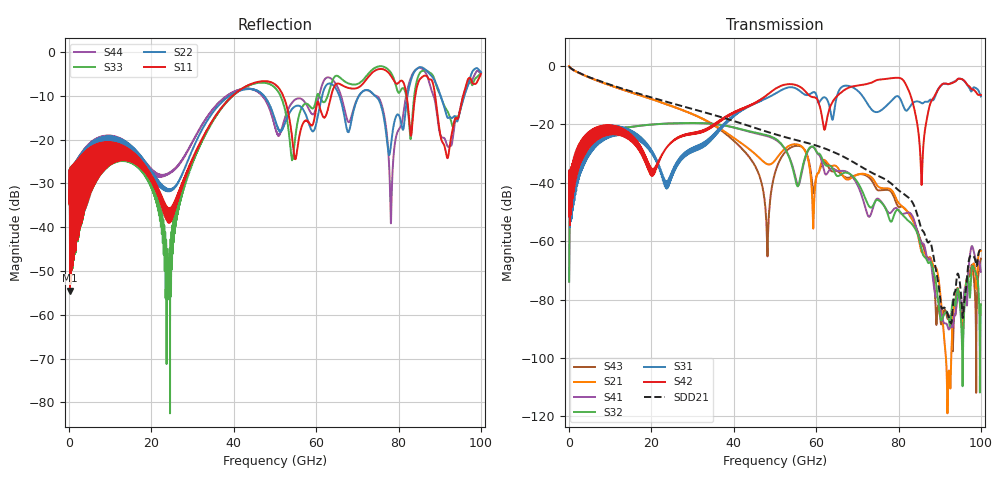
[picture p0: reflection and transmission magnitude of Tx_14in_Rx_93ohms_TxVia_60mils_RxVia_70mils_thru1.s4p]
! Info: Touchstone file created by Circ.  Input file=Tx_14in_Rx_93ohms_TxVia_60mils_RxVia_70mils.circ
# Hz S RI R 50
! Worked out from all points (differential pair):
!   10000 points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, 10 MHz to 100 GHz, reference 50 ohm
!   strongest paths, dB at 10 MHz, 25.01 GHz, 50.01 GHz, 75.01 GHz, 100 GHz:
!     S42: -51.5, -26.1, -8.0, -4.8, -10.0
!     S31: -51.5, -36.8, -9.6, -15.8, -10.5
!     S32: -73.8, -19.7, -24.9, -45.9, -81.7
!     S41: -73.9, -19.7, -25.2, -45.5, -70.5
!     S21: -0.2, -13.9, -32.4, -41.3, -63.3
!     S43: -0.2, -13.9, -36.7, -42.6, -66.0
!   taken as a pair (ports 1,3 in; 2,4 out), SDD21 dB: -0.2, -12.9, -23.4, -37.6, -63.2
!   lowest |S11| = -54.5 dB at 230 MHz (marker M1), VSWR 1.00, Z = 49.9 + j0.124 ohm
!   |S11| at or under -10 dB: start of sweep to 39.66 GHz; 52.01 GHz to 63.64 GHz (11.63 GHz wide, 20.1 % of centre); 88.91 GHz to 95.7 GHz (6.794 GHz wide, 7.36 % of centre) (the widest 3 of 4)
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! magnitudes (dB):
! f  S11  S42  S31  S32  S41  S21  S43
! 10 MHz  -34.6  -51.5  -51.5  -73.8  -73.9  -0.2  -0.2
! 230 MHz  -54.5  -44.1  -44.1  -47.8  -47.8  -0.6  -0.6
! 24.11 GHz  -38.9  -27.3  -39.0  -19.8  -19.8  -13.4  -13.4
! 37.81 GHz  -11.8  -18.0  -20.2  -20.4  -20.5  -22.6  -23.1
! 48.15 GHz  -6.7  -9.9  -10.9  -23.8  -24.1  -33.7  -63.5
! 78.18 GHz  -5.5  -4.3  -12.1  -53.4  -50.2  -42.4  -43.1
! 100 GHz  -5.0  -10.0  -10.5  -81.7  -70.5  -63.3  -66.0
